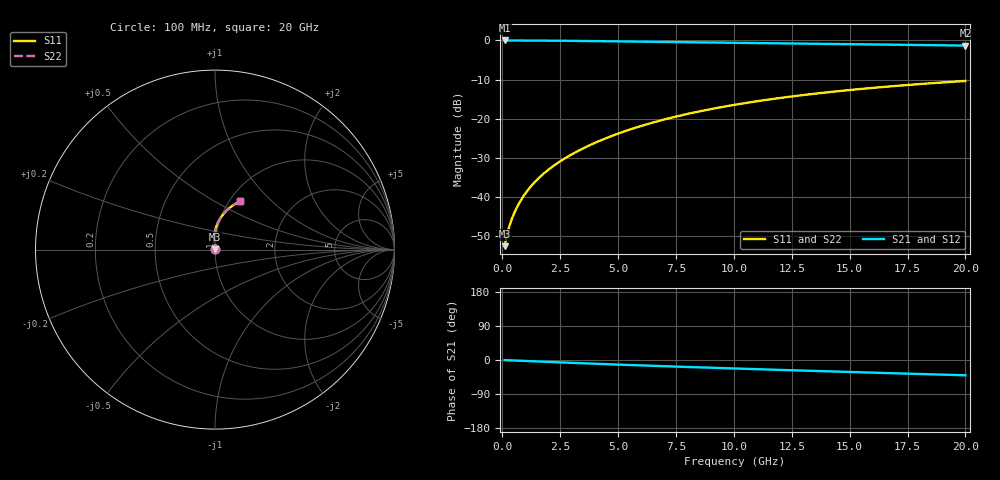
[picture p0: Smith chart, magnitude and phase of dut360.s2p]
! Touchstone file exported from HFSS 2024.1.0
!  File:  C:/UserFiles/LocalFiles/RDL_TSV_Batchsim/temp_RDL_bottom_360_1779612769.aedt
!  Generated:  04:55:15 PM May 24, 2026
!  Design:  RDL_bottom
!  Project:  temp_RDL_bottom_360_1779612769
!  Setup:  Setup1
!  Solution:  Sweep
! Variables:
!  dtsv = 10.80580581um
!  hbump = 3um
!  htsv = 60.59um
!  ldown = 611.09um
!  lrdl = 100um
!  p = 40
!  p1 = 53.12um
!  rhole = 1um
!  t = 450um
!  tdown = 4.25um
!  trdl = 3.915915916um
!  wdown = 29.52um
!  wrdl = 20um
# GHz S MA R 50.000000
! Terminal data exported
! Port[1] = RDL1_T1
! Port[2] = RDL1_T2
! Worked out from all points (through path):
!   200 points, 100 MHz to 20 GHz, reference 50 ohm
!   highest |S21| = -0.02 dB at 100 MHz (marker M1); lowest = -1.3 dB at 20 GHz (marker M2)
!   group delay of S21, straight-line fit = 5.5 ps
!   lowest |S11| = -52.5 dB at 100 MHz (marker M3), VSWR 1.00, Z = 50.2 + j0.133 ohm
!   |S11| at or under -10 dB: start of sweep to end of sweep
!   |S22| runs from -52.5 to -10.3 dB; largest |S21 - S12| = 3.3e-15
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0.1  0.002371 33.8  0.998 -0.3  0.998 -0.3  0.002371 33.8
! Gamma 0 0 0 0
! Port Impedance 50 0 50 0
0.2  0.003285 49.5  0.9978 -0.5  0.9978 -0.5  0.003284 49.5
0.3  0.004224 57.8  0.9976 -0.8  0.9976 -0.8  0.004224 57.8
0.4  0.005165 63.5  0.9974 -1.0  0.9974 -1.0  0.005164 63.5
0.5  0.006121 67.7  0.9972 -1.3  0.9972 -1.3  0.006121 67.7
0.6  0.007099 71.1  0.997 -1.6  0.997 -1.6  0.007099 71.1
0.8  0.009116 76.0  0.9966 -2.1  0.9966 -2.1  0.009116 76.1
1.1  0.01227 80.9  0.9958 -2.8  0.9958 -2.8  0.01227 80.9
1.6  0.01781 85.7  0.994 -4.1  0.994 -4.1  0.01781 85.7
2.1  0.02369 88.6  0.9917 -5.3  0.9917 -5.3  0.02369 88.7
2.7  0.03121 90.9  0.9884 -6.8  0.9884 -6.8  0.03123 90.9
3.5  0.04206 92.4  0.9831 -8.7  0.9831 -8.7  0.04209 92.5
4.2  0.05228 92.9  0.9778 -10.3  0.9778 -10.3  0.05232 92.9
5  0.06468 92.7  0.9715 -12.1  0.9715 -12.1  0.06474 92.8
5.9  0.07935 91.8  0.9641 -14.1  0.9641 -14.1  0.07943 91.9
6.8  0.09457 90.5  0.9566 -16.0  0.9566 -16.0  0.09467 90.5
8.4  0.1223 87.4  0.9436 -19.2  0.9436 -19.2  0.1225 87.5
10.1  0.1519 83.7  0.9302 -22.5  0.9302 -22.5  0.1521 83.7
11.7  0.1793 80.0  0.918 -25.6  0.918 -25.6  0.1795 80.1
13.4  0.2074 76.2  0.9055 -28.7  0.9055 -28.7  0.2077 76.2
16.7  0.2583 69.0  0.8819 -34.6  0.8819 -34.6  0.2587 69.0
20  0.3038 62.3  0.8589 -40.3  0.8589 -40.3  0.3042 62.4
